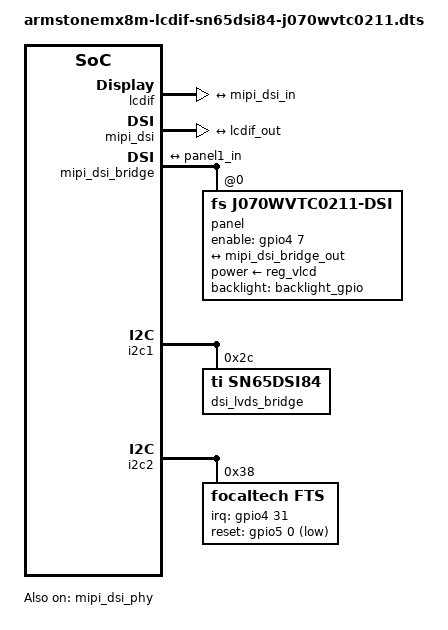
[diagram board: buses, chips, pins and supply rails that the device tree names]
/*
* Copyright (C) 2020 F&S Elektronik Systeme GmbH
*
* This program is free software; you can redistribute it and/or modify
* it under the terms of the GNU General Public License version 2 as
* published by the Free Software Foundation.
*/

#define CONFIG_ARMSTONEMX8M_LVDS_3_3_V
#define CONFIG_ARMSTONEMX8M_INVERTED_XY

#include "armstonemx8m.dts"

/ {
	display-subsystem {
		status = "disabled";
	};
};

&dcss {
	status = "disabled";
};

&hdmi {
	status = "disabled";
};

&lcdif {
	status = "okay";

	/* max-res = <4096>, <4096>; */

	port@0 {
		lcdif_out: endpoint {
			remote-endpoint = <&mipi_dsi_in>;
		};
	};
};

&mipi_dsi_phy {
	status = "okay";
};

&mipi_dsi {
	status = "okay";
	as_bridge;
	/* Note:
	*  HS and VS polarity to HIGH.
	*/
	sync-pol = <1>;
	pwr-delay = <10>;
	best-match;
	port@1 {
		mipi_dsi_in: endpoint {
			remote-endpoint = <&lcdif_out>;
		};
	};

};

&mipi_dsi_bridge {
	status = "okay";

	panel@0 {
		reg = <0>;
		compatible = "fs,j070wvtc0211-dsi"; /* one of panel-simple's
		match strings */

		power-supply = <&reg_vlcd>;
		enable-gpios = <&gpio4 7 GPIO_ACTIVE_HIGH>;
		backlight = <&backlight_gpio>;

		dsi,flags = <0xB>; /* MIPI_DSI_MODE_VIDEO MIPI_DSI_MODE_VIDEO_BURST MIPI_DSI_MODE_VIDEO_AUTO_VERT */
		dsi,format = <0x0>; /* MIPI_DSI_FMT_RGB888 */
		dsi,lanes = <4>;
		bus-flags = <1>;
		refresh-rate = <60>;
                rotate = <0>;

		panel-width-mm  = <154>;
		panel-height-mm = <85>;
		
		display-timings {
			native-mode = <&timing0>;

			timing0: jd_j070wvtc0211 {
				clock-frequency = <33000000>;
				hactive = <800>;
				vactive = <480>;
				hfront-porch = <210>;
				hback-porch = <45>;
				hsync-len = <1>;
				vfront-porch = <25>;
				vback-porch = <19>;
				vsync-len = <1>;
				de-active = <1>;
				vsync-active = <0>;
				hsync-active = <0>;
			};
		};

		port {
			panel1_in: endpoint {
				remote-endpoint = <&mipi_dsi_bridge_out>;
			};
		};
	};

	port@1 {
		mipi_dsi_bridge_out: endpoint {
			remote-endpoint = <&panel1_in>;
		};
	};
};

&i2c1 {
	/* mipi to lvds controller  */
	dsi_lvds_bridge: sn65dsi84@2c {
		reg = <0x2c>;
		status = "okay";
		compatible = "ti,sn65dsi84";
		#gpio-cells = <2>;

		sn65dsi84,addresses = <
		0x09 0x0A 0x0B 0x0D
		0x10 0x11 0x12 0x13
                0x18 0x19 0x1A 0x1B
                0x20 0x21 0x22 0x23
                0x24 0x25 0x26 0x27
                0x28 0x29 0x2A 0x2B
                0x2C 0x2D 0x2E 0x2F
                0x30 0x31 0x32 0x33
                0x34 0x35 0x36 0x37
                0x38 0x39 0x3A 0x3B
                0x3C 0x3D 0x3E
                0x0D>;

		sn65dsi84,values = <
		/* reset and clock registers */
		0x00 0x01 0x10 0x00
                /* DSI registers */
		0x26 0x00 0x13 0x00
		/* LVDS registers */
                0x78 0x00 0x03 0x00
                /* video registers */
                /* cha-al-len-l, cha-al-len-h */
                0x20 0x03 0x00 0x00
                /* cha-v-ds-l, cha-v-ds-h */
                0x00 0x00 0x00 0x00
                /* cha-sdl, cha-sdh*/
                0x21 0x00 0x00 0x00
                /* cha-hs-pwl, cha-hs-pwh */
                0x01 0x00 0x00 0x00
                /* cha-vs-pwl, cha-vs-pwh */
                0x01 0x00 0x00 0x00
                /*cha-hbp, cha-vbp */
                0x2d 0x00 0x00 0x00
                /* cha-hfp, cha-vfp*/
                0x00 0x00 0x00 0x00
                0x00 0x00 0x00
                0x01>;
	};
};

&i2c2 {
	/* touch I2C */
	focaltech@38 {
		compatible = "focaltech,fts";
		reg = <0x38>;

		interrupt-parent = <&gpio4>;
		interrupts = <31 IRQ_TYPE_EDGE_FALLING>;
		focaltech,irq-gpio = <&gpio4 31 IRQ_TYPE_EDGE_FALLING>;
		
		#ifdef CONFIG_ARMSTONEMX8M_INVERTED_XY
		focaltech,touchscreen-inverted-x;
		focaltech,touchscreen-inverted-y;
		#endif
		
		focaltech,reset-gpio = <&gpio5 0 GPIO_ACTIVE_LOW>;
		focaltech,num-max-touches = <10>;
		focaltech,display-coords = <0 0 800 480>;
	};
};

